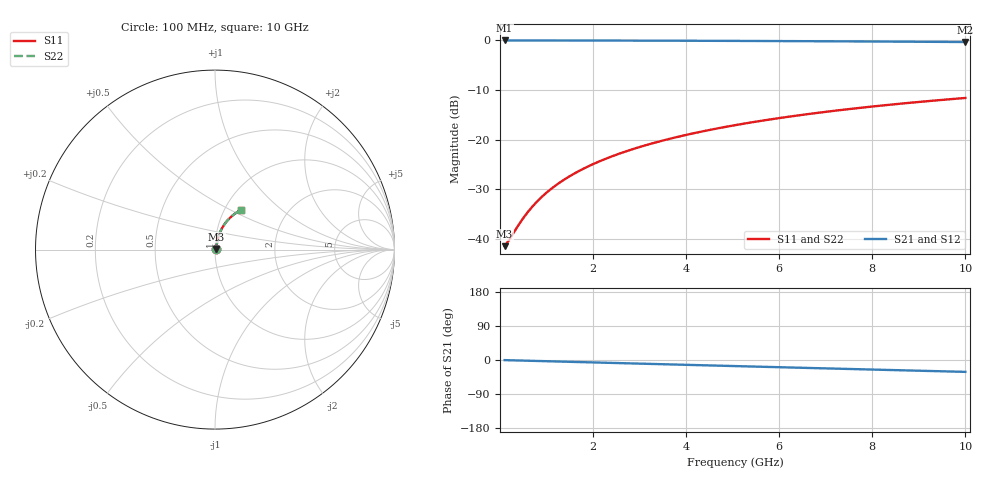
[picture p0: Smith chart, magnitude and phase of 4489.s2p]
# Hz S RI R 50.00
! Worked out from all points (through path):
!   100 points, 100 MHz to 10 GHz, reference 50 ohm
!   highest |S21| = -0.07 dB at 100 MHz (marker M1); lowest = -0.4 dB at 10 GHz (marker M2)
!   group delay of S21, straight-line fit = 8.71 ps
!   lowest |S11| = -41.4 dB at 100 MHz (marker M3), VSWR 1.02, Z = 50.8 + j0.281 ohm
!   |S11| at or under -10 dB: start of sweep to end of sweep
!   |S22| runs from -41.4 to -11.6 dB; largest |S21 - S12| = 0
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1e8  0.00804 0.00277  0.992 -0.00553  0.992 -0.00553  0.00804 0.00277
2e8  0.00813 0.00554  0.9918 -0.0111  0.9918 -0.0111  0.00813 0.00554
4e8  0.00839 0.0111  0.9915 -0.0221  0.9915 -0.0221  0.00839 0.0111
5e8  0.00855 0.0138  0.9913 -0.0276  0.9913 -0.0276  0.00855 0.0138
6e8  0.00874 0.0166  0.9911 -0.0332  0.9911 -0.0332  0.00874 0.0166
7e8  0.00897 0.0194  0.9908 -0.0387  0.9908 -0.0387  0.00897 0.0194
8e8  0.00922 0.0221  0.9905 -0.0442  0.9905 -0.0442  0.00922 0.0221
1e9  0.0098 0.0276  0.9898 -0.0552  0.9898 -0.0552  0.0098 0.0276
1.2e9  0.0105 0.0331  0.9889 -0.0662  0.9889 -0.0662  0.0105 0.0331
1.5e9  0.0118 0.0413  0.9873 -0.0827  0.9873 -0.0827  0.0118 0.0413
1.8e9  0.0133 0.0494  0.9854 -0.0991  0.9854 -0.0991  0.0133 0.0494
2.1e9  0.0152 0.0575  0.9831 -0.1155  0.9831 -0.1155  0.0152 0.0575
2.5e9  0.018 0.0682  0.9795 -0.1372  0.9795 -0.1372  0.018 0.0682
2.9e9  0.0213 0.0787  0.9754 -0.1588  0.9754 -0.1588  0.0213 0.0787
3.4e9  0.0261 0.0915  0.9694 -0.1855  0.9694 -0.1855  0.0261 0.0915
4.2e9  0.0351 0.1115  0.958 -0.2276  0.958 -0.2276  0.0351 0.1115
5.1e9  0.0473 0.1328  0.9425 -0.2738  0.9425 -0.2738  0.0473 0.1328
5.9e9  0.0598 0.1505  0.9266 -0.3138  0.9266 -0.3138  0.0598 0.1505
6.7e9  0.0737 0.167  0.9087 -0.3525  0.9087 -0.3525  0.0737 0.167
7.5e9  0.0889 0.1821  0.889 -0.3899  0.889 -0.3899  0.0889 0.1821
8.4e9  0.1074 0.1974  0.8648 -0.4302  0.8648 -0.4302  0.1074 0.1974
1e10  0.1431 0.2197  0.8173 -0.4971  0.8173 -0.4971  0.1431 0.2197
